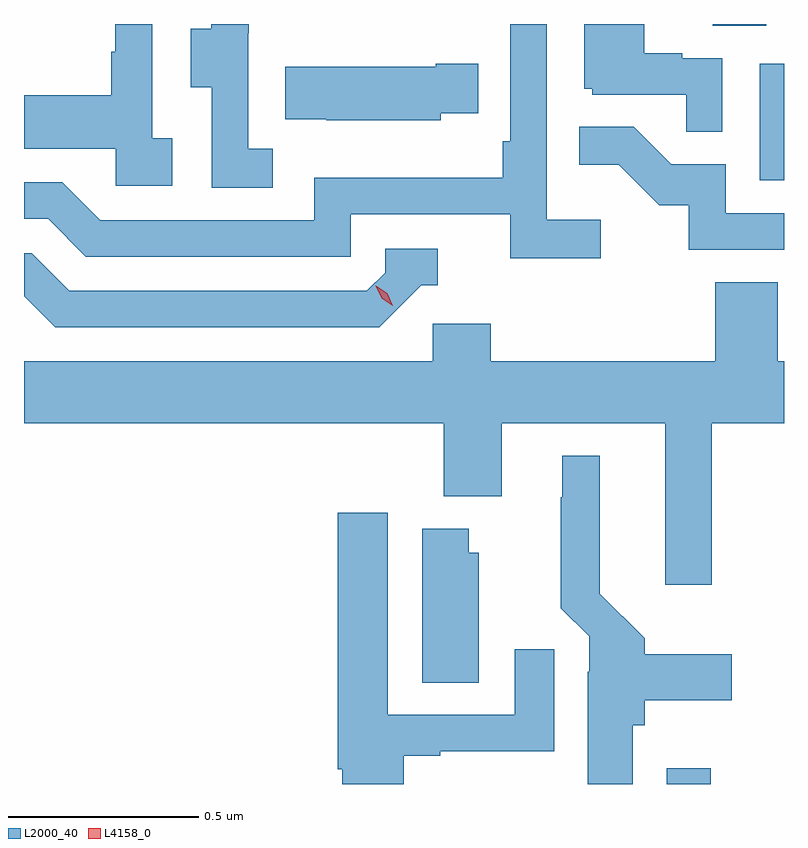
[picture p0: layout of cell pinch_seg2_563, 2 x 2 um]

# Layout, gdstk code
import gdstk
lib = gdstk.Library(unit=1e-6, precision=1e-09)
def R(c, l, rs):  # rectangles x0, y0, x1, y1
    for r in rs: c.add(gdstk.rectangle(r[:2], r[2:], *l))
def P(c, l, *ps):  # polygons
    for p in ps: c.add(gdstk.Polygon(p, *l))
L2000_40 = (2000, 40)
L4158_0 = (4158, 0)

pinch_seg2_563 = lib.new_cell('pinch_seg2_563')
R(pinch_seg2_563, L2000_40, [(1139.919,614.719,1140.035,614.761), (1140.164,616.308,1140.228,616.615), (1140.041,616.714,1140.181,616.719)])
P(pinch_seg2_563, L2000_40, [(1139.746,616.204),(1139.604,616.204),(1139.604,616.719),(1139.508,616.719),(1139.508,616.411),(1139.488,616.411),(1139.488,616.315),(1138.992,616.315),(1138.992,616.203),(1138.428,616.203),(1138.329,616.302),(1138.228,616.302),(1138.228,616.206),(1138.292,616.206),(1138.391,616.107),(1139.088,616.107),(1139.088,616.218),(1139.507,616.218),(1139.507,616.102),(1139.746,616.102)],
  [(1138.882,616.391),(1138.818,616.391),(1138.818,616.695),(1138.82,616.695),(1138.82,616.719),(1138.721,616.719),(1138.721,616.707),(1138.667,616.707),(1138.667,616.552),(1138.722,616.552),(1138.722,616.288),(1138.882,616.288)],
  [(1140.066,616.629),(1139.96,616.629),(1139.96,616.642),(1139.86,616.642),(1139.86,616.719),(1139.702,616.719),(1139.702,616.548),(1139.724,616.548),(1139.724,616.533),(1139.971,616.533),(1139.971,616.435),(1140.066,616.435)],
  [(1138.618,616.418),(1138.566,616.418),(1138.566,616.719),(1138.468,616.719),(1138.468,616.646),(1138.458,616.646),(1138.458,616.531),(1138.228,616.531),(1138.228,616.391),(1138.47,616.391),(1138.47,616.293),(1138.618,616.293)],
  [(1139.325,616.484),(1139.423,616.484),(1139.423,616.614),(1139.312,616.614),(1139.312,616.606),(1138.915,616.606),(1138.915,616.469),(1139.023,616.469),(1139.023,616.466),(1139.325,616.466)],
  [(1140.228,616.221),(1140.075,616.221),(1140.075,616.35),(1139.931,616.35),(1139.833,616.448),(1139.689,616.448),(1139.689,616.349),(1139.793,616.349),(1139.9,616.242),(1139.977,616.242),(1139.977,616.125),(1140.228,616.125)],
  [(1139.274,616.032),(1139.317,616.032),(1139.317,616.128),(1139.178,616.128),(1139.178,616.065),(1139.13,616.017),(1138.347,616.017),(1138.248,616.116),(1138.228,616.116),(1138.228,616.003),(1138.31,615.921),(1139.163,615.921)],
  [(1140.038,615.668),(1140.228,615.668),(1140.228,615.832),(1140.212,615.832),(1140.212,616.04),(1140.047,616.04),(1140.047,615.832),(1139.456,615.832),(1139.456,615.93),(1139.304,615.93),(1139.304,615.832),(1138.228,615.832),(1138.228,615.668),(1139.333,615.668),(1139.333,615.476),(1139.485,615.476),(1139.485,615.668),(1139.915,615.668),(1139.915,615.243),(1140.038,615.243)],
  [(1139.83,614.874),(1139.861,614.874),(1139.861,614.939),(1140.091,614.939),(1140.091,615.061),(1139.861,615.061),(1139.861,615.102),(1139.743,615.22),(1139.743,615.583),(1139.645,615.583),(1139.645,615.473),(1139.641,615.473),(1139.641,615.182),(1139.715,615.108),(1139.715,615.014),(1139.711,615.014),(1139.711,614.719),(1139.83,614.719)],
  [(1139.227,614.793),(1139.323,614.793),(1139.323,614.805),(1139.623,614.805),(1139.623,615.073),(1139.519,615.073),(1139.519,614.901),(1139.185,614.901),(1139.185,615.433),(1139.054,615.433),(1139.054,614.758),(1139.066,614.758),(1139.066,614.719),(1139.227,614.719)],
  [(1139.425,615.327),(1139.398,615.327),(1139.398,615.391),(1139.276,615.391),(1139.276,614.986),(1139.425,614.986)])
P(pinch_seg2_563, L4158_0, [(1139.199,615.978),(1139.169,615.997),(1139.153,616.03),(1139.153,616.03),(1139.154,616.03),(1139.184,616.01),(1139.199,615.978),(1139.199,615.978)])

lib.write_gds('pinch_seg2_563.gds')
